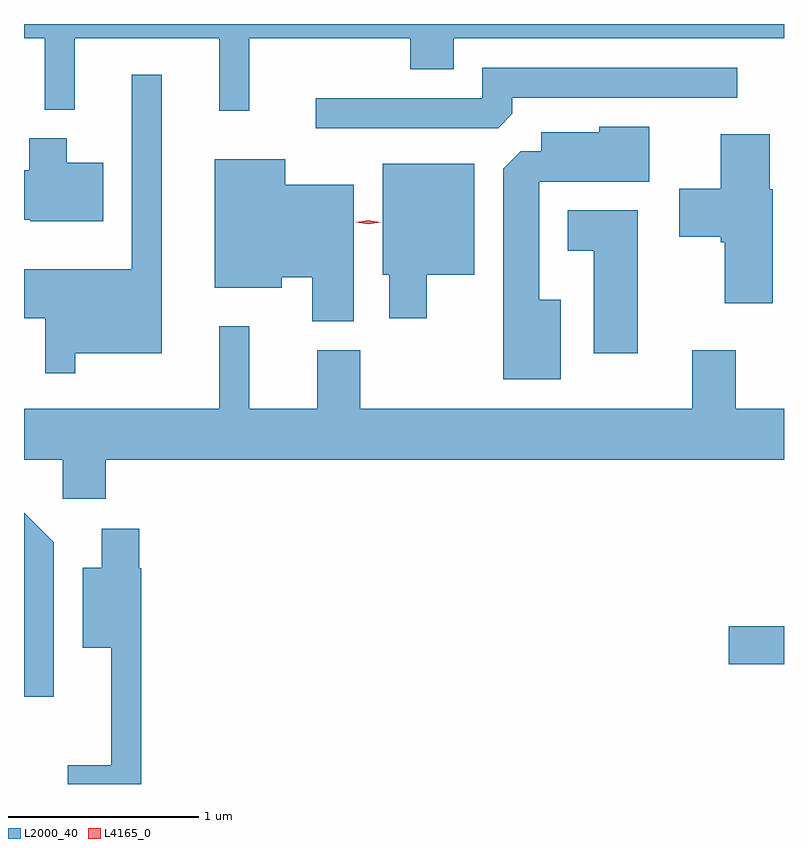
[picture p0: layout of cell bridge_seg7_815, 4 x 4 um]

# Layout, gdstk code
import gdstk
lib = gdstk.Library(unit=1e-6, precision=1e-09)
def R(c, l, rs):  # rectangles x0, y0, x1, y1
    for r in rs: c.add(gdstk.rectangle(r[:2], r[2:], *l))
def P(c, l, *ps):  # polygons
    for p in ps: c.add(gdstk.Polygon(p, *l))
L2000_40 = (2000, 40)
L4165_0 = (4165, 0)

bridge_seg7_815 = lib.new_cell('bridge_seg7_815')
R(bridge_seg7_815, L2000_40, [(211.936,1793.161,212.228,1793.359)])
P(bridge_seg7_815, L2000_40, [(209.414,1796.456),(210.261,1796.456),(210.261,1796.291),(210.489,1796.291),(210.489,1796.456),(212.228,1796.456),(212.228,1796.53),(208.228,1796.53),(208.228,1796.456),(208.336,1796.456),(208.336,1796.078),(208.494,1796.078),(208.494,1796.456),(209.256,1796.456),(209.256,1796.073),(209.414,1796.073)],
  [(210.799,1796.057),(210.799,1796.141),(211.983,1796.141),(211.983,1796.299),(210.641,1796.299),(210.641,1796.139),(209.763,1796.139),(209.763,1795.981),(210.724,1795.981)],
  [(208.499,1794.796),(208.954,1794.796),(208.954,1796.263),(208.796,1796.263),(208.796,1795.239),(208.228,1795.239),(208.228,1794.981),(208.341,1794.981),(208.341,1794.693),(208.499,1794.693)],
  [(211.054,1795.079),(210.939,1795.079),(210.939,1795.701),(211.519,1795.701),(211.519,1795.989),(211.256,1795.989),(211.256,1795.959),(210.951,1795.959),(210.951,1795.859),(210.842,1795.859),(210.751,1795.769),(210.751,1794.661),(211.054,1794.661)],
  [(212.169,1795.66),(212.154,1795.66),(212.154,1795.949),(211.896,1795.949),(211.896,1795.664),(211.676,1795.664),(211.676,1795.411),(211.896,1795.411),(211.896,1795.381),(211.916,1795.381),(211.916,1795.061),(212.169,1795.061)],
  [(208.644,1795.799),(208.454,1795.799),(208.454,1795.929),(208.256,1795.929),(208.256,1795.759),(208.228,1795.759),(208.228,1795.501),(208.26,1795.501),(208.26,1795.491),(208.644,1795.491)],
  [(209.964,1795.684),(209.604,1795.684),(209.604,1795.819),(209.231,1795.819),(209.231,1795.141),(209.584,1795.141),(209.584,1795.196),(209.746,1795.196),(209.746,1794.966),(209.964,1794.966)],
  [(210.349,1795.211),(210.599,1795.211),(210.599,1795.794),(210.116,1795.794),(210.116,1795.211),(210.151,1795.211),(210.151,1794.981),(210.349,1794.981)],
  [(211.459,1795.549),(211.091,1795.549),(211.091,1795.336),(211.226,1795.336),(211.226,1794.796),(211.459,1794.796)],
  [(208.659,1794.236),(212.228,1794.236),(212.228,1794.504),(211.974,1794.504),(211.974,1794.814),(211.746,1794.814),(211.746,1794.504),(209.999,1794.504),(209.999,1794.814),(209.771,1794.814),(209.771,1794.504),(209.414,1794.504),(209.414,1794.938),(209.256,1794.938),(209.256,1794.504),(208.228,1794.504),(208.228,1794.236),(208.431,1794.236),(208.431,1794.031),(208.659,1794.031)],
  [(208.384,1793.802),(208.228,1793.958),(208.228,1792.988),(208.384,1792.988)],
  [(208.844,1793.665),(208.834,1793.665),(208.834,1793.874),(208.636,1793.874),(208.636,1793.669),(208.536,1793.669),(208.536,1793.246),(208.686,1793.246),(208.686,1792.629),(208.458,1792.629),(208.458,1792.53),(208.844,1792.53)])
P(bridge_seg7_815, L4165_0, [(210.039,1795.477),(209.973,1795.486),(209.973,1795.486),(209.973,1795.487),(210.039,1795.496),(210.105,1795.487),(210.106,1795.487),(210.105,1795.486)])

lib.write_gds('bridge_seg7_815.gds')
